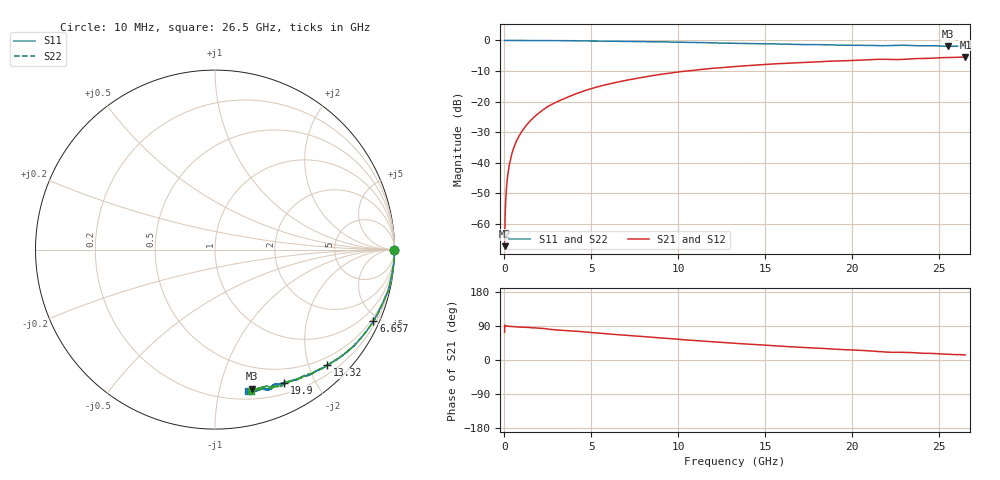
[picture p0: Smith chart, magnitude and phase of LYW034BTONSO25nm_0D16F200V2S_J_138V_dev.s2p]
!Keysight Technologies,N5222B,MY61253708,A.15.00.15
!Date: Wednesday, June 19, 2024 10:01:55
!Correction: S11(C  2-Port  )
!S21(C  2-Port  )
!S12(C  2-Port  )
!S22(C  2-Port  )
!S2P File: Measurements: S11, S21, S12, S22:
# Hz S  RI  R 50
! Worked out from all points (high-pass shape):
!   2651 points, 10 MHz to 26.5 GHz, reference 50 ohm
!   highest |S21| = -5.40 dB at 26.5 GHz (marker M1); lowest = -67.2 dB at 10 MHz (marker M2)
!   |S21| within 3 dB of the highest: 13.56 GHz to end of sweep
!   lowest |S11| = -1.9 dB at 25.5 GHz (marker M3), VSWR 9.05, Z = 14.5 - j62.8 ohm
!   |S11| at or under -10 dB: nowhere
!   |S22| runs from -1.9 to 0.0 dB; largest |S21 - S12| = 0.0061
!   S11 on the Smith chart (normalised r, x): 10 MHz: open; 6.657 GHz: 0.36, -4.61; 13.32 GHz: 0.35, -2.32; 19.9 GHz: 0.32, -1.59; 26.5 GHz: 0.27, -1.23
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1e7  0.9984 -0.00294  0.000122 0.000417  0.000194 0.000282  0.9988 -0.00163
6.997736e7  1 -0.00508  1.18e-05 0.00227  2.49e-05 0.00228  0.9998 -0.00469
1.599434e8  0.9999 -0.0113  6.76e-05 0.00528  4.81e-05 0.00529  0.9997 -0.0105
2.099245e8  0.9997 -0.0141  6.49e-05 0.00692  0.000107 0.00694  0.9995 -0.0134
2.699019e8  0.9997 -0.0182  0.00017 0.00891  0.000169 0.00895  1 -0.0174
3.698642e8  0.9997 -0.0253  0.000303 0.0121  0.000285 0.0122  0.9996 -0.0243
4.998151e8  0.999 -0.0336  0.000572 0.0164  0.000524 0.0165  0.999 -0.0321
6.597547e8  0.9984 -0.0436  0.000912 0.0216  0.000888 0.0217  0.9987 -0.0421
8.596792e8  0.9981 -0.0569  0.00155 0.028  0.00154 0.0282  0.9976 -0.056
1.469449e9  0.991 -0.0982  0.00372 0.0482  0.00371 0.0483  0.9936 -0.0936
2.349117e9  0.9822 -0.1522  0.01 0.0778  0.0102 0.0782  0.9836 -0.1513
3.238781e9  0.9705 -0.2086  0.021 0.104  0.0213 0.1045  0.9722 -0.2061
4.428332e9  0.9433 -0.2791  0.0377 0.1404  0.038 0.1411  0.9457 -0.2749
6.657491e9  0.8823 -0.3988  0.0858 0.1957  0.0869 0.1961  0.8849 -0.3964
8.846664e9  0.8055 -0.5007  0.143 0.2356  0.1443 0.2359  0.8089 -0.4968
1.3255e10  0.6303 -0.6415  0.2694 0.2608  0.2714 0.2603  0.6373 -0.6378
1.332497e10  0.6263 -0.6449  0.2721 0.2605  0.2734 0.2597  0.6324 -0.6394
1.767333e10  0.4589 -0.7221  0.3758 0.2341  0.3787 0.2323  0.4733 -0.718
1.990249e10  0.3836 -0.7434  0.4203 0.2103  0.4226 0.2071  0.3993 -0.7396
2.209166e10  0.3233 -0.7559  0.4589 0.173  0.4604 0.1697  0.3218 -0.7616
2.550038e10  0.2042 -0.7745  0.5086 0.1369  0.5098 0.1361  0.2289 -0.7774
2.65e10  0.1845 -0.7881  0.5221 0.1254  0.5213 0.1215  0.2025 -0.787
